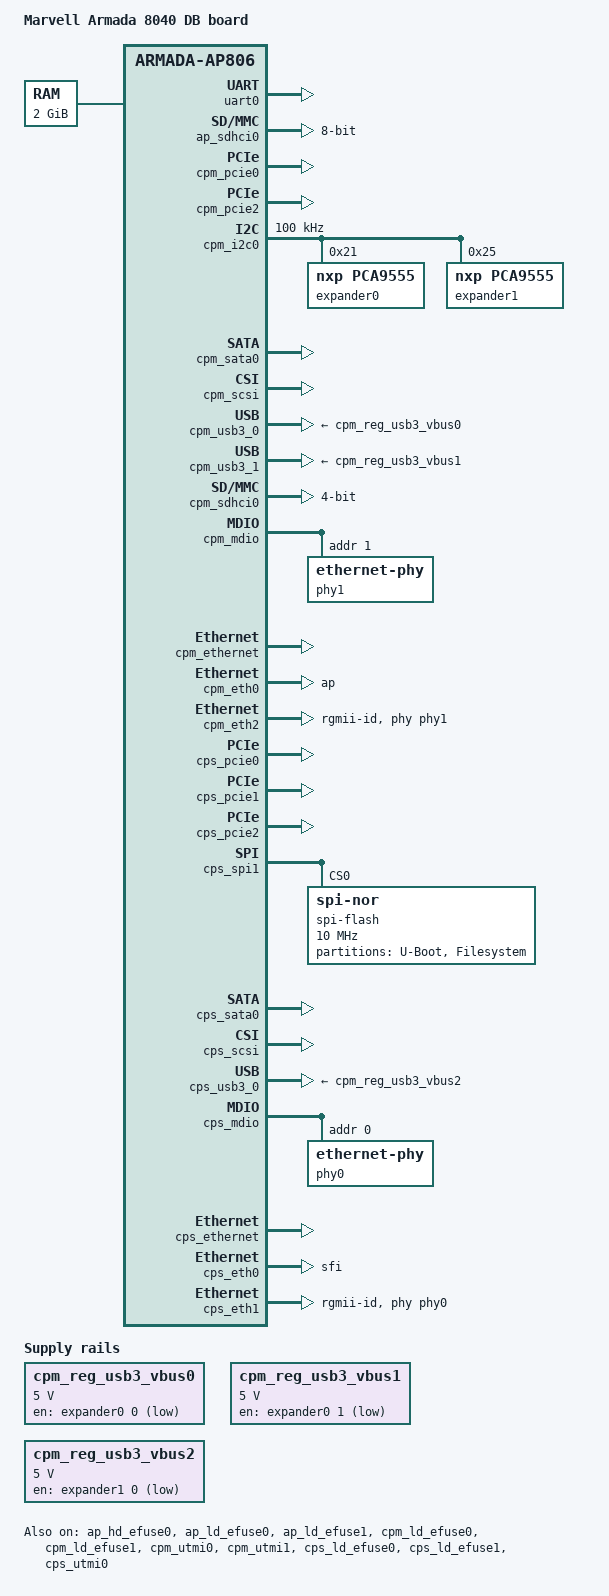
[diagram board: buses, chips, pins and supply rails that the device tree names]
/*
 * Copyright (C) 2017 Marvell International Ltd.
 *
 * SPDX-License-Identifier:	GPL-2.0
 * https://spdx.org/licenses
 */

/*
 * Device Tree file for Marvell Armada 8040 Development board platform
 */

#include "armada-8040.dtsi"
#include "armada-8040-dev-info.dtsi"

/ {
	model = "Marvell Armada 8040 DB board";
	compatible = "marvell,armada8040-db", "marvell,armada8040",
		     "marvell,armada-ap806-quad", "marvell,armada-ap806";

	chosen {
		stdout-path = "serial0:115200n8";
	};

	aliases {
		i2c0 = &cpm_i2c0;
		spi0 = &cps_spi1;
		fuse0 = &ap_hd_efuse0;
		fuse1 = &ap_ld_efuse0;
		fuse2 = &ap_ld_efuse1;
		fuse3 = &cpm_ld_efuse0;
		fuse4 = &cpm_ld_efuse1;
		fuse5 = &cps_ld_efuse0;
		fuse6 = &cps_ld_efuse1;
	};

	memory@00000000 {
		device_type = "memory";
		reg = <0x0 0x0 0x0 0x80000000>;
	};

	cpm_reg_usb3_vbus0:cpm_usb3_vbus@0 {
		compatible = "regulator-fixed";
		regulator-min-microvolt = <5000000>;
		regulator-max-microvolt = <5000000>;
		startup-delay-us = <100000>;
		shutdown-delay-us = <500000>;
		regulator-force-boot-off;
		gpio = <&expander0 0 GPIO_ACTIVE_HIGH>;
	};

	cpm_reg_usb3_vbus1: cpm_usb3_vbus@1 {
		compatible = "regulator-fixed";
		regulator-min-microvolt = <5000000>;
		regulator-max-microvolt = <5000000>;
		startup-delay-us = <100000>;
		shutdown-delay-us = <500000>;
		regulator-force-boot-off;
		gpio = <&expander0 1 GPIO_ACTIVE_HIGH>;
	};

	/* even though this node used for enable/disable cps usb vbus-supply,
	 * we use "cpm" prefix since the expander is connected to cpm.
	 */
	cpm_reg_usb3_vbus2: cpm_usb3_vbus@2 {
		compatible = "regulator-fixed";
		regulator-min-microvolt = <5000000>;
		regulator-max-microvolt = <5000000>;
		startup-delay-us = <100000>;
		shutdown-delay-us = <500000>;
		regulator-force-boot-off;
		gpio = <&expander1 0 GPIO_ACTIVE_HIGH>;
	};
};

/* Accessible over the mini-USB CON9 connector on the main board */
&uart0 {
	status = "okay";
};

&ap_hd_efuse0 {
	status = "okay";
};

&ap_ld_efuse0 {
	status = "okay";
};

&ap_ld_efuse1 {
	status = "okay";
};

&ap_pinctl {
	/* MPP Bus:
	 * SDIO  [0-10]
	 * UART0 [11,19]
	 */
		  /* 0 1 2 3 4 5 6 7 8 9 */
	pin-func = < 1 1 1 1 1 1 1 1 1 1
		     1 3 0 0 0 0 0 0 0 3 >;
};

&ap_sdhci0 {
	pinctrl-names = "default";
	pinctrl-0 = <&ap_emmc_pins>;
	bus-width = <8>;
	status = "okay";
};

&cpm_pinctl {
	/* MPP Bus:
	 *	[0-31]	= 0xff: Keep default CP0_shared_pins
	 *	[11]	CLKOUT_MPP_11 (out)
	 *	[23]	LINK_RD_IN_CP2CP (in)
	 *	[25]	CLKOUT_MPP_25 (out)
	 *	[29]	AVS_FB_IN_CP2CP (in)
	 *	[32,34]	GE_MDIO/MDC
	 *	[33]	GPIO: GE_INT#/push button/Wake
	 *	[35]	MSS_GPIO[3]: MSS_PWDN
	 *	[36]	MSS_GPIO[5]: MSS_VTT_EN
	 *	[37-38]	I2C0
	 *	[39]	PTP_CLK
	 *	[40-41]	SATA[0/1]_PRESENT_ACTIVEn
	 *	[42-43]	XG_MDC/XG_MDIO (XSMI)
	 *	[44-55]	RGMII1
	 *	[56-62]	SD
	 */
		/*   0    1    2    3    4    5    6    7    8    9 */
	pin-func = < 0xff 0xff 0xff 0xff 0xff 0xff 0xff 0xff 0xff 0xff
		     0xff 0xff 0xff 0xff 0xff 0xff 0xff 0xff 0xff 0xff
		     0xff 0xff 0xff 0xff 0xff 0xff 0xff 0xff 0xff 0xff
		     0xff 0xff 0x7  0x0  0x7  0xa  0xa  0x2  0x2  0x5
		     0x9  0x9  0x8  0x8  0x1  0x1  0x1  0x1  0x1  0x1
		     0x1  0x1  0x1  0x1  0x1  0x1  0xe  0xe  0xe  0xe
		     0xe  0xe  0xe>;
};

&cpm_ld_efuse0 {
	status = "okay";
};

&cpm_ld_efuse1 {
	status = "okay";
};

&cpm_comphy {
	/* Serdes Configuration:
	 *	Lane 0: PCIe0 (x1)
	 *	Lane 1: SATA0
	 *	Lane 2: SFI (10G)
	 *	Lane 3: SATA1
	 *	Lane 4: USB3_HOST1
	 *	Lane 5: PCIe2 (x1)
	 */
	phy0 {
		phy-type = <COMPHY_TYPE_PEX0>;
	};
	phy1 {
		phy-type = <COMPHY_TYPE_SATA0>;
	};
	phy2 {
		phy-type = <COMPHY_TYPE_AP>;
	};
	phy3 {
		phy-type = <COMPHY_TYPE_SATA1>;
	};
	phy4 {
		phy-type = <COMPHY_TYPE_USB3_HOST1>;
	};
	phy5 {
		phy-type = <COMPHY_TYPE_PEX2>;
	};
};

/* CON6 on CP0 expansion */
&cpm_pcie0 {
	status = "okay";
};

&cpm_pcie1 {
	status = "disabled";
};

/* CON5 on CP0 expansion */
&cpm_pcie2 {
	status = "okay";
};

&cpm_i2c0 {
	pinctrl-names = "default";
	pinctrl-0 = <&cpm_i2c0_pins>;
	status = "okay";
	clock-frequency = <100000>;
	expander0: pca953x@21 {
		compatible = "nxp,pca9555";
		#gpio-cells = <2>;
		reg = <0x21>;
		status = "okay";
	};
	expander1: pca953x@25 {
		compatible = "nxp,pca9555";
		#gpio-cells = <2>;
		reg = <0x25>;
		status = "okay";
	};
};

/* CON4 on CP0 expansion */
&cpm_sata0 {
	status = "okay";
};

&cpm_scsi {
	status = "okay";
};

/* CON9 on CP0 expansion */
&cpm_usb3_0 {
	vbus-supply = <&cpm_reg_usb3_vbus0>;
	status = "okay";
};

/* CON10 on CP0 expansion */
&cpm_usb3_1 {
	vbus-supply = <&cpm_reg_usb3_vbus1>;
	status = "okay";
};

&cpm_utmi0 {
	status = "okay";
};

&cpm_utmi1 {
	status = "okay";
};

&cpm_sdhci0 {
	pinctrl-names = "default";
	pinctrl-0 = <&cpm_sdhci_pins>;
	bus-width = <4>;
	status = "okay";
};

&cpm_mdio {
	status = "okay";
	phy1: ethernet-phy@1 {
		reg = <1>;
	};
};

&cpm_ethernet {
	status = "okay";
};

&cpm_eth0 {
        status = "okay";
        phy-mode = "ap"; /* lane-2: left for auto-neg */
};

&cpm_eth2 {
	status = "okay";
	phy = <&phy1>;
	phy-mode = "rgmii-id";
};

&cps_pinctl {
	/* MPP Bus:
	 *	[0-11]	RGMII0
	 *	[13-16]	SPI1
	 *	[27,31]	GE_MDIO/MDC
	 *	[28]	SATA1_PRESENT_ACTIVEn
	 *	[29-30]	UART0
	 *	[32-62]	= 0xff: Keep default CP1_shared_pins
	 */
		/*   0    1    2    3    4    5    6    7    8    9 */
	pin-func = < 0x3  0x3  0x3  0x3  0x3  0x3  0x3  0x3  0x3  0x3
		     0x3  0x3  0x3  0x3  0x3  0x3  0x3  0xff 0xff 0xff
		     0xff 0xff 0xff 0xff 0xff 0xff 0xff 0x8  0x9  0xa
		     0xA  0x8  0xff 0xff 0xff 0xff 0xff 0xff 0xff 0xff
		     0xff 0xff 0xff 0xff 0xff 0xff 0xff 0xff 0xff 0xff
		     0xff 0xff 0xff 0xff 0xff 0xff 0xff 0xff 0xff 0xff
		     0xff 0xff 0xff>;
};

&cps_ld_efuse0 {
	status = "okay";
};

&cps_ld_efuse1 {
	status = "okay";
};

&cps_comphy {
	/* Serdes Configuration:
	 *	Lane 0: PCIe0 (x1)
	 *	Lane 1: SATA0
	 *	Lane 2: SFI (10G)
	 *	Lane 3: SATA1
	 *	Lane 4: PCIe1 (x1)
	 *	Lane 5: PCIe2 (x1)
	 */
	phy0 {
		phy-type = <COMPHY_TYPE_PEX0>;
	};
	phy1 {
		phy-type = <COMPHY_TYPE_SATA0>;
	};
	phy2 {
		phy-type = <COMPHY_TYPE_SFI>;
	};
	phy3 {
		phy-type = <COMPHY_TYPE_SATA1>;
	};
	phy4 {
		phy-type = <COMPHY_TYPE_PEX1>;
	};
	phy5 {
		phy-type = <COMPHY_TYPE_PEX2>;
	};
};

/* CON6 on CP1 expansion */
&cps_pcie0 {
	status = "okay";
};

&cps_pcie1 {
	status = "okay";
};

/* CON5 on CP1 expansion */
&cps_pcie2 {
	status = "okay";
};

&cps_spi1 {
	pinctrl-names = "default";
	pinctrl-0 = <&cps_spi1_pins>;
	status = "okay";

	spi-flash@0 {
		#address-cells = <1>;
		#size-cells = <1>;
		compatible = "jedec,spi-nor";
		reg = <0>;
		spi-max-frequency = <10000000>;

		partitions {
			compatible = "fixed-partitions";
			#address-cells = <1>;
			#size-cells = <1>;

			partition@0 {
				label = "U-Boot";
				reg = <0 0x200000>;
			};
			partition@400000 {
				label = "Filesystem";
				reg = <0x200000 0xce0000>;
			};
		};
	};
};

/* CON4 on CP1 expansion */
&cps_sata0 {
	status = "okay";
};

&cps_scsi {
	status = "okay";
};

/* CON9 on CP1 expansion */
&cps_usb3_0 {
	vbus-supply = <&cpm_reg_usb3_vbus2>;
	status = "okay";
};

&cps_utmi0 {
	status = "okay";
};

&cps_mdio {
	status = "okay";
        phy0: ethernet-phy@0 {
                reg = <0>;
        };
};

&cps_ethernet {
	status = "okay";
};

&cps_eth0 {
        status = "okay";
        phy-mode = "sfi"; /* lane-2 */
};

&cps_eth1 {
        status = "okay";
        phy = <&phy0>;
        phy-mode = "rgmii-id";
};
